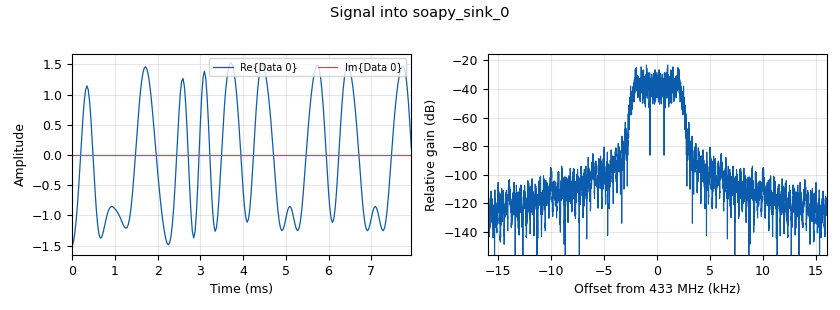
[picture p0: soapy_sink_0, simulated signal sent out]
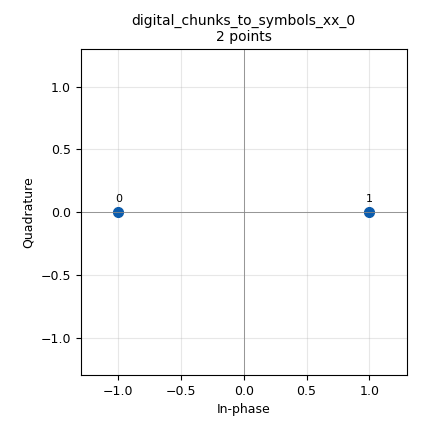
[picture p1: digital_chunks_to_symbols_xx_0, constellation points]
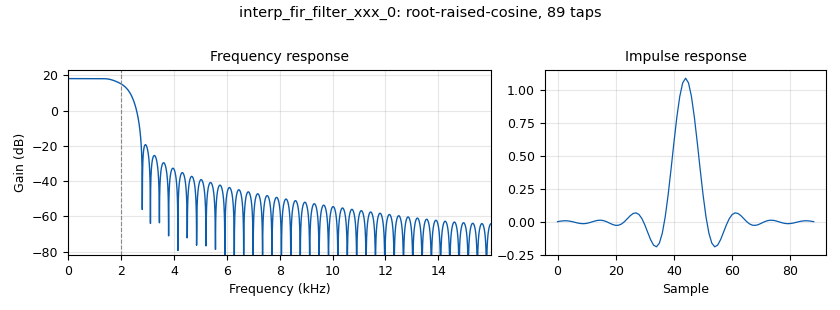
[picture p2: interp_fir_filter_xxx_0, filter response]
options:
  parameters:
    author: rootr
    generate_options: qt_gui
    generator_class_name: PythonQtGuiGenerator
    generator_module: gnuradio.grc.workflows.python_qt_gui
    id: msg_BPSK
    output_language: python
    title: Not titled yet
  states: {}

blocks:
- name: freq
  id: variable
  parameters:
    value: 433e6
  states: {}
- name: rrc_taps
  id: variable
  parameters:
    value: firdes.root_raised_cosine(sps, samp_rate, sym_rate, 0.35, 11*sps)
  states: {}
- name: samp_rate
  id: variable
  parameters:
    value: '32000'
  states: {}
- name: sps
  id: variable
  parameters:
    value: '8'
  states: {}
- name: sym_rate
  id: variable
  parameters:
    value: samp_rate / sps
  states: {}
- name: blocks_unpack_k_bits_bb_0
  id: blocks_unpack_k_bits_bb
  parameters:
    k: '8'
  states: {}
- name: blocks_vector_source_x_0
  id: blocks_vector_source_x
  parameters:
    repeat: 'True'
    type: byte
    vector: '[0xAA,0xAA,0xAA,0xAA, 0x2D,0xD4] + list(b"Hello World!")'
  states: {}
- name: digital_chunks_to_symbols_xx_0
  id: digital_chunks_to_symbols_xx
  parameters:
    dimension: '1'
    in_type: byte
    out_type: complex
    symbol_table: '[-1.0+0.0j, 1.0+0.0j]'
  states: {}
- name: interp_fir_filter_xxx_0
  id: interp_fir_filter_xxx
  parameters:
    interp: sps
    taps: rrc_taps
    type: ccc
  states: {}
- name: soapy_sink_0
  id: soapy_sink
  parameters:
    args: driver=bladerf
    center_freq0: freq
    devname: bladerf
    samp_rate: samp_rate
    txvga1_gain: '30'
    txvga2_gain: '0'
    type: sc8
  states: {}

connections:
- [blocks_unpack_k_bits_bb_0, '0', digital_chunks_to_symbols_xx_0, '0']
- [blocks_vector_source_x_0, '0', blocks_unpack_k_bits_bb_0, '0']
- [digital_chunks_to_symbols_xx_0, '0', interp_fir_filter_xxx_0, '0']
- [interp_fir_filter_xxx_0, '0', soapy_sink_0, '0']

metadata:
  file_format: 1
  grc_version: 3.10.12.0
